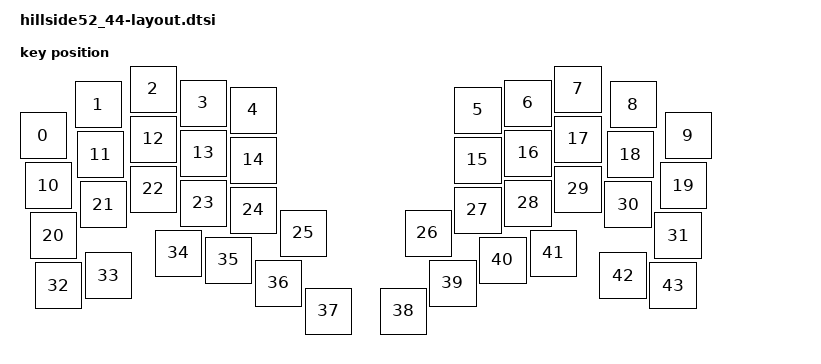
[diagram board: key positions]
#include <physical_layouts.dtsi>

/ {
    physical_layout_hillside52_44: physical_layout_hillside52_44 {
        compatible = "zmk,physical-layout";
        display-name = "Hillside52 (44)";

        keys  //                     w   h    x    y     rot    rx    ry
            = <&key_physical_attrs 100 100    0   93       0     0     0>
            , <&key_physical_attrs 100 100  110   31       0     0     0>
            , <&key_physical_attrs 100 100  220    0       0     0     0>
            , <&key_physical_attrs 100 100  320   28       0     0     0>
            , <&key_physical_attrs 100 100  420   42       0     0     0>
            , <&key_physical_attrs 100 100  870   42       0     0     0>
            , <&key_physical_attrs 100 100  970   28       0     0     0>
            , <&key_physical_attrs 100 100 1070    0       0     0     0>
            , <&key_physical_attrs 100 100 1180   31       0     0     0>
            , <&key_physical_attrs 100 100 1290   93       0     0     0>
            , <&key_physical_attrs 100 100   10  193       0     0     0>
            , <&key_physical_attrs 100 100  115  131       0     0     0>
            , <&key_physical_attrs 100 100  220  100       0     0     0>
            , <&key_physical_attrs 100 100  320  128       0     0     0>
            , <&key_physical_attrs 100 100  420  142       0     0     0>
            , <&key_physical_attrs 100 100  870  142       0     0     0>
            , <&key_physical_attrs 100 100  970  128       0     0     0>
            , <&key_physical_attrs 100 100 1070  100       0     0     0>
            , <&key_physical_attrs 100 100 1175  131       0     0     0>
            , <&key_physical_attrs 100 100 1280  193       0     0     0>
            , <&key_physical_attrs 100 100   20  293       0     0     0>
            , <&key_physical_attrs 100 100  120  231       0     0     0>
            , <&key_physical_attrs 100 100  220  200       0     0     0>
            , <&key_physical_attrs 100 100  320  228       0     0     0>
            , <&key_physical_attrs 100 100  420  242       0     0     0>
            , <&key_physical_attrs 100 100  520  288       0     0     0>
            , <&key_physical_attrs 100 100  770  288       0     0     0>
            , <&key_physical_attrs 100 100  870  242       0     0     0>
            , <&key_physical_attrs 100 100  970  228       0     0     0>
            , <&key_physical_attrs 100 100 1070  200       0     0     0>
            , <&key_physical_attrs 100 100 1170  231       0     0     0>
            , <&key_physical_attrs 100 100 1270  293       0     0     0>
            , <&key_physical_attrs 100 100   30  393       0     0     0>
            , <&key_physical_attrs 100 100  130  373       0     0     0>
            , <&key_physical_attrs 100 100  270  328       0     0     0>
            , <&key_physical_attrs 100 100  370  342       0     0     0>
            , <&key_physical_attrs 100 100  470  388       0     0     0>
            , <&key_physical_attrs 100 100  570  444       0     0     0>
            , <&key_physical_attrs 100 100  720  444       0     0     0>
            , <&key_physical_attrs 100 100  820  388       0     0     0>
            , <&key_physical_attrs 100 100  920  342       0     0     0>
            , <&key_physical_attrs 100 100 1020  328       0     0     0>
            , <&key_physical_attrs 100 100 1160  373       0     0     0>
            , <&key_physical_attrs 100 100 1260  393       0     0     0>
            ;
    };
};
